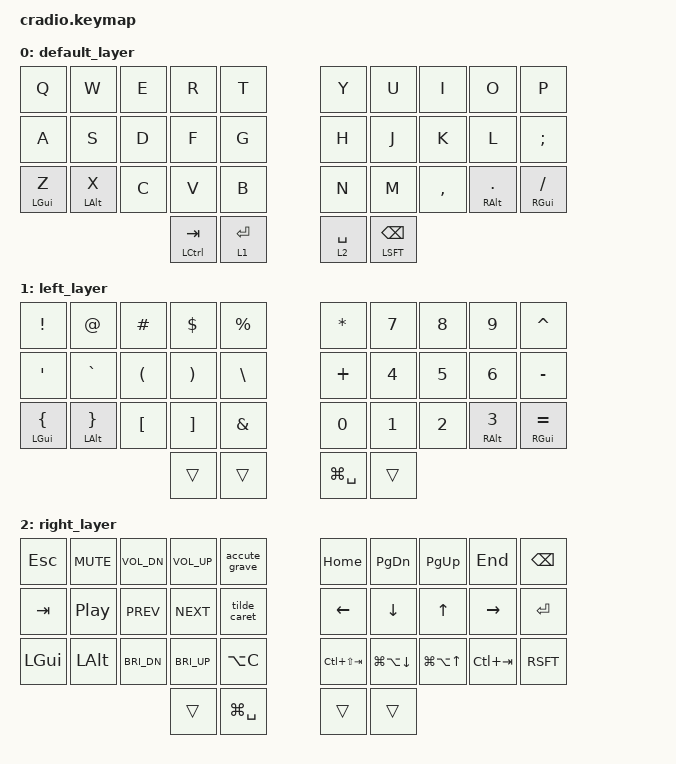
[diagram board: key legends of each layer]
/*
 * Copyright (c) 2020 The ZMK Contributors
 *
 * SPDX-License-Identifier: MIT
 */

#include <behaviors.dtsi>
#include <dt-bindings/zmk/keys.h>
#include <dt-bindings/zmk/bt.h>


&mt {
    tapping-term-ms = <200>;
};
&lt {
    tapping-term-ms = <200>;
    quick-tap-ms = <170>;
};
/ {
    behaviors {
        lt_hp: lt_hold_preferred {
            compatible = "zmk,behavior-hold-tap";
            #binding-cells = <2>;
            flavor = "hold-preferred";
            tapping-term-ms = <220>;
            quick-tap-ms = <180>;
            bindings = <&mo>, <&kp>;
            display-name = "Layer-Tap";
       };
        mt_qt: mt_quick_tap {
            compatible = "zmk,behavior-hold-tap";
            #binding-cells = <2>;
            bindings = <&kp>, <&kp>;
            flavor = "hold-preferred";
            tapping-term-ms = <220>;
            quick-tap-ms = <180>;
        };
        mt_hr: mt_homerow {
            compatible = "zmk,behavior-hold-tap";
            #binding-cells = <2>;
            bindings = <&kp>, <&kp>;
            flavor = "balanced";
            require-prior-idle-ms = <150>;
            tapping-term-ms = <250>;
            quick-tap-ms = <175>;
        };
        accute_grave: accute_grave {
            compatible = "zmk,behavior-mod-morph";
            #binding-cells = <0>;
            bindings = <&kp LA(E)>, <&kp LA(GRAVE)>;
            mods = <(MOD_LSFT|MOD_RSFT)>;
        };
        tilde_caret: tilde_caret {
            compatible = "zmk,behavior-mod-morph";
            #binding-cells = <0>;
            bindings = <&kp LA(N)>, <&kp LA(I)>;
            mods = <(MOD_LSFT|MOD_RSFT)>;
        };
    };
};
/ { 
    keymap {
        compatible = "zmk,keymap";
                
        default_layer {
        bindings = <
        &kp Q          &kp W          &kp E  &kp R          &kp T                   &kp Y      &kp U             &kp I      &kp O            &kp P
        &kp A          &kp S          &kp D  &kp F          &kp G                   &kp H      &kp J             &kp K      &kp L            &kp SEMI
        &mt_hr LGUI Z  &mt_hr LALT X  &kp C  &kp V          &kp B                   &kp N      &kp M             &kp COMMA  &mt_hr RALT DOT  &mt_hr RGUI SLASH
                                             &mt LCTRL TAB  &lt_hp 1 ENTER          &lt 2 SPC  &mt_qt LSFT BSPC
        >;
        };

        left_layer {
        bindings = <
        &kp EXCL          &kp AT            &kp POUND  &kp DLLR  &kp PRCNT               &kp STAR     &kp N7  &kp N8  &kp N9          &kp CARET
        &kp APOS          &kp GRAVE         &kp LPAR   &kp RPAR  &kp BSLH                &kp PLUS     &kp N4  &kp N5  &kp N6          &kp MINUS
        &mt_hr LGUI LBRC  &mt_hr LALT RBRC  &kp LBKT   &kp RBKT  &kp AMPS                &kp N0       &kp N1  &kp N2  &mt_hr RALT N3  &mt_hr RGUI EQUAL
                                                       &trans    &trans                  &kp LG(SPC)  &trans
        >;
        };
        
        right_layer {
        bindings = <
        &kp ESC   &kp C_MUTE  &kp C_VOL_DN  &kp C_VOL_UP  &accute_grave             &kp HOME         &kp PG_DN         &kp PG_UP       &kp END      &kp BSPC
        &kp TAB   &kp C_PP    &kp C_PREV    &kp C_NEXT    &tilde_caret              &kp LEFT         &kp DOWN          &kp UP          &kp RIGHT    &kp RET
        &kp LGUI  &kp LALT    &kp C_BRI_DN  &kp C_BRI_UP  &kp LA(C)                 &kp LC(LS(TAB))  &kp LG(LA(DOWN))  &kp LG(LA(UP))  &kp LC(TAB)  &kp RSFT
                                            &trans        &kp LG(SPC)               &trans           &trans
        >;
        };	
    };
};
